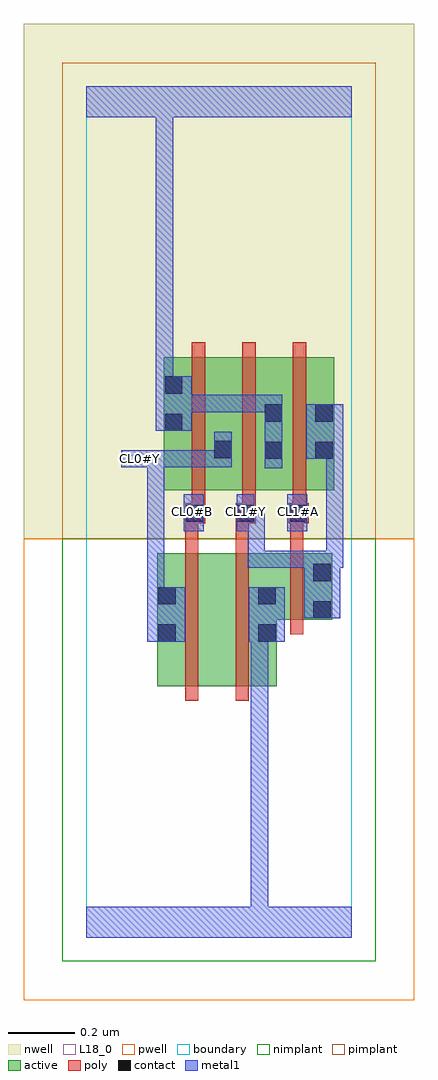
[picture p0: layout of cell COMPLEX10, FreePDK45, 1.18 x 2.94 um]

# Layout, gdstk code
import gdstk
lib = gdstk.Library(unit=1e-6, precision=1e-09)
def R(c, l, rs):  # rectangles x0, y0, x1, y1
    for r in rs: c.add(gdstk.rectangle(r[:2], r[2:], *l))
def A(c, l, x, y, w, h, nx, ny, dx, dy):  # array of equal rectangles
    R(c, l, [(x+i*dx, y+j*dy, x+i*dx+w, y+j*dy+h) for i in range(nx) for j in range(ny)])
active = (1, 0)
pwell = (2, 0)
nwell = (3, 0)
nimplant = (4, 0)
pimplant = (5, 0)
poly = (9, 0)
contact = (10, 0)
metal1 = (11, 0)
L18_0 = (18, 0)
boundary = (235, 0)

complex10 = lib.new_cell('COMPLEX10')
A(complex10, active, 0.382, 1.346, 0.06, 0.298, 3, 1, 0.152, 0)
R(complex10, active, [(0.214,0.756,0.274,1.156), (0.214,0.756,0.394,1.156), (0.394,0.756,0.574,1.156), (0.514,0.756,0.574,1.156), (0.514,0.956,0.74,1.156), (0.68,0.956,0.74,1.156), (0.234,1.346,0.442,1.746), (0.234,1.346,0.294,1.692), (0.382,1.346,0.594,1.746), (0.534,1.346,0.746,1.746)])
R(complex10, pwell, [(-0.188,-0.188,0.988,1.2)])
R(complex10, nwell, [(-0.188,1.2,0.988,2.748)])
R(complex10, nimplant, [(-0.072,-0.072,0.872,1.2)])
R(complex10, pimplant, [(-0.072,1.2,0.872,2.632)])
A(complex10, poly, 0.318, 1.266, 0.04, 0.076, 3, 1, 0.152, 0)
A(complex10, poly, 0.318, 1.302, 0.04, 0.488, 3, 1, 0.152, 0)
R(complex10, poly, [(0.298,0.712,0.338,1.2), (0.45,0.712,0.49,1.2), (0.614,0.912,0.654,1.2), (0.298,1.16,0.338,1.286), (0.45,1.16,0.49,1.286), (0.614,1.16,0.654,1.286), (0.298,1.246,0.358,1.306), (0.45,1.246,0.51,1.306), (0.61,1.246,0.67,1.306), (0.614,1.246,0.654,1.286), (0.614,1.246,0.654,1.286), (0.318,1.266,0.358,1.306), (0.318,1.266,0.358,1.306), (0.47,1.266,0.51,1.306), (0.47,1.266,0.51,1.306)])
R(complex10, contact, [(0.218,0.89,0.27,0.942), (0.518,0.89,0.57,0.942), (0.684,0.96,0.736,1.012), (0.218,1.002,0.27,1.054), (0.518,1.002,0.57,1.054), (0.684,1.072,0.736,1.124), (0.302,1.25,0.354,1.302), (0.454,1.25,0.506,1.302), (0.614,1.25,0.666,1.302), (0.538,1.44,0.59,1.492), (0.69,1.44,0.742,1.492), (0.386,1.442,0.438,1.494), (0.238,1.524,0.29,1.576), (0.538,1.552,0.59,1.604), (0.69,1.552,0.742,1.604), (0.238,1.636,0.29,1.688)])
R(complex10, metal1, [(0,0,0.8,0.092), (0.496,0.04,0.548,0.092), (0.496,0.04,0.548,0.092), (0.496,0.04,0.548,0.092), (0.496,0.04,0.548,0.092), (0.496,0.04,0.548,0.092), (0.496,0.04,0.548,0.092), (0.496,0.04,0.548,0.092), (0.496,0.04,0.548,0.092), (0.496,0.04,0.548,0.942), (0.184,0.89,0.298,1.054), (0.49,0.89,0.598,1.054), (0.496,0.89,0.548,0.942), (0.496,0.89,0.548,0.942), (0.496,0.89,0.548,0.942), (0.496,0.89,0.548,0.942), (0.656,0.96,0.764,1.124), (0.184,1.002,0.236,1.466), (0.712,1.072,0.764,1.164), (0.486,1.112,0.764,1.164), (0.486,1.112,0.538,1.274), (0.712,1.112,0.764,1.164), (0.712,1.112,0.764,1.164), (0.712,1.112,0.774,1.164), (0.722,1.112,0.774,1.492), (0.722,1.112,0.774,1.164), (0.722,1.112,0.774,1.164), (0.294,1.222,0.354,1.334), (0.454,1.222,0.538,1.274), (0.454,1.222,0.506,1.334), (0.606,1.222,0.666,1.334), (0.538,1.412,0.59,1.632), (0.106,1.414,0.236,1.466), (0.184,1.414,0.236,1.466), (0.184,1.414,0.236,1.466), (0.184,1.414,0.236,1.466), (0.184,1.414,0.236,1.466), (0.184,1.414,0.236,1.466), (0.184,1.414,0.236,1.466), (0.184,1.414,0.438,1.466), (0.386,1.414,0.438,1.522), (0.662,1.44,0.774,1.604), (0.21,1.524,0.318,1.688), (0.266,1.58,0.318,1.632), (0.266,1.58,0.318,1.632), (0.266,1.58,0.428,1.632), (0.376,1.58,0.428,1.632), (0.376,1.58,0.428,1.632), (0.376,1.58,0.428,1.632), (0.376,1.58,0.59,1.632), (0.21,1.636,0.262,1.688), (0.21,1.636,0.262,1.688), (0.21,1.636,0.262,1.688), (0.21,1.636,0.262,1.688), (0.21,1.636,0.262,1.688), (0.21,1.636,0.262,1.688), (0.21,1.636,0.262,2.52), (0,2.468,0.8,2.56), (0.21,2.468,0.262,2.52), (0.21,2.468,0.262,2.52), (0.21,2.468,0.262,2.52), (0.21,2.468,0.262,2.52), (0.21,2.468,0.262,2.52), (0.21,2.468,0.262,2.52), (0.21,2.468,0.262,2.52), (0.21,2.468,0.262,2.52), (0.21,2.468,0.262,2.52), (0.21,2.468,0.262,2.52)])
A(complex10, L18_0, 0.294, 1.254, 0.052, 0.052, 3, 1, 0.16, 0)
R(complex10, L18_0, [(0,0,0.8,0.092), (0.496,0.04,0.548,0.092), (0.496,0.04,0.548,0.092), (0.496,0.04,0.548,0.092), (0.496,0.04,0.548,0.092), (0.496,0.04,0.548,0.092), (0.496,0.04,0.548,0.092), (0.496,0.04,0.548,0.092), (0.496,0.04,0.548,0.092), (0.496,0.04,0.548,0.942), (0.184,0.89,0.298,1.054), (0.49,0.89,0.598,1.054), (0.496,0.89,0.548,0.942), (0.496,0.89,0.548,0.942), (0.496,0.89,0.548,0.942), (0.496,0.89,0.548,0.942), (0.656,0.96,0.764,1.124), (0.184,1.002,0.236,1.466), (0.712,1.072,0.764,1.164), (0.486,1.112,0.538,1.274), (0.486,1.112,0.764,1.164), (0.712,1.112,0.764,1.164), (0.712,1.112,0.764,1.164), (0.712,1.112,0.774,1.164), (0.722,1.112,0.774,1.164), (0.722,1.112,0.774,1.164), (0.722,1.112,0.774,1.492), (0.294,1.222,0.354,1.334), (0.454,1.222,0.506,1.334), (0.454,1.222,0.538,1.274), (0.606,1.222,0.666,1.334), (0.538,1.412,0.59,1.632), (0.106,1.414,0.236,1.466), (0.134,1.414,0.186,1.466), (0.184,1.414,0.236,1.466), (0.184,1.414,0.236,1.466), (0.184,1.414,0.236,1.466), (0.184,1.414,0.236,1.466), (0.184,1.414,0.236,1.466), (0.184,1.414,0.236,1.466), (0.184,1.414,0.438,1.466), (0.386,1.414,0.438,1.522), (0.662,1.44,0.774,1.604), (0.21,1.524,0.318,1.688), (0.266,1.58,0.318,1.632), (0.266,1.58,0.318,1.632), (0.266,1.58,0.428,1.632), (0.376,1.58,0.428,1.632), (0.376,1.58,0.428,1.632), (0.376,1.58,0.428,1.632), (0.376,1.58,0.59,1.632), (0.21,1.636,0.262,1.688), (0.21,1.636,0.262,1.688), (0.21,1.636,0.262,1.688), (0.21,1.636,0.262,1.688), (0.21,1.636,0.262,1.688), (0.21,1.636,0.262,1.688), (0.21,1.636,0.262,2.52), (0,2.468,0.8,2.56), (0.21,2.468,0.262,2.52), (0.21,2.468,0.262,2.52), (0.21,2.468,0.262,2.52), (0.21,2.468,0.262,2.52), (0.21,2.468,0.262,2.52), (0.21,2.468,0.262,2.52), (0.21,2.468,0.262,2.52), (0.21,2.468,0.262,2.52), (0.21,2.468,0.262,2.52), (0.21,2.468,0.262,2.52)])
R(complex10, boundary, [(0,0,0.8,2.56)])
complex10.add(gdstk.Label('CL0#B', (0.32,1.28), layer=11, texttype=0))
complex10.add(gdstk.Label('CL0#Y', (0.16,1.44), layer=11, texttype=0))
complex10.add(gdstk.Label('CL1#A', (0.64,1.28), layer=11, texttype=0))
complex10.add(gdstk.Label('CL1#Y', (0.48,1.28), layer=11, texttype=0))

lib.write_gds('COMPLEX10.gds')
